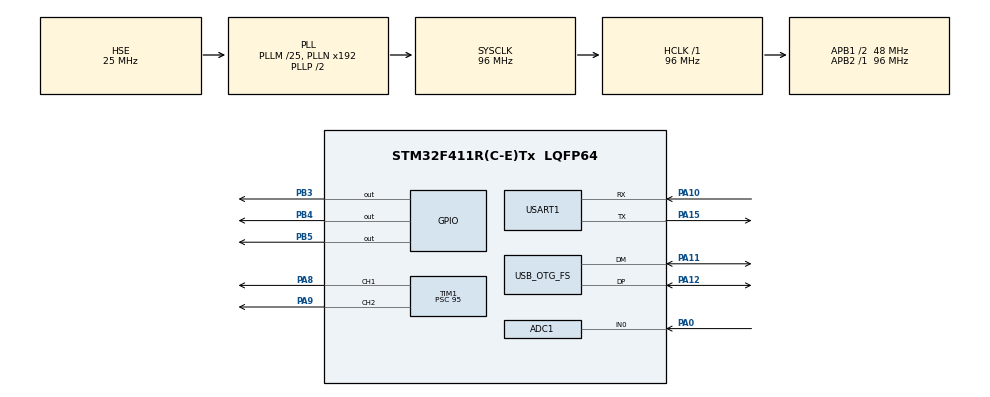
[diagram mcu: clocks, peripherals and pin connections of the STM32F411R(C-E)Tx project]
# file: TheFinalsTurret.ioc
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ADC1.Channel-1\#ChannelRegularConversion=ADC_CHANNEL_0
ADC1.NbrOfConversionFlag=1
ADC1.Rank-1\#ChannelRegularConversion=1
ADC1.SamplingTime-1\#ChannelRegularConversion=ADC_SAMPLETIME_3CYCLES
ADC1.master=1
FREERTOS.Tasks01=defaultTask,24,128,StartDefaultTask,Default,NULL,Dynamic,NULL,NULL
Mcu.Family=STM32F4
Mcu.Name=STM32F411R(C-E)Tx
Mcu.Package=LQFP64
NVIC.PriorityGroup=NVIC_PRIORITYGROUP_4
NVIC.TIM2_IRQn=true\:15\:0\:false\:false\:true\:false\:false\:true\:true
NVIC.TimeBase=TIM2_IRQn
NVIC.TimeBaseIP=TIM2
PA0-WKUP.Signal=ADCx_IN0
PA10.Mode=Asynchronous
PA10.Signal=USART1_RX
PA11.Mode=Device_Only
PA11.Signal=USB_OTG_FS_DM
PA12.Mode=Device_Only
PA12.Signal=USB_OTG_FS_DP
PA13.Mode=Serial_Wire
PA13.Signal=SYS_JTMS-SWDIO
PA14.Mode=Serial_Wire
PA14.Signal=SYS_JTCK-SWCLK
PA15.Mode=Asynchronous
PA15.Signal=USART1_TX
PA8.Signal=S_TIM1_CH1
PA9.Signal=S_TIM1_CH2
PB3.Signal=GPIO_Output
PB4.Signal=GPIO_Output
PB5.Signal=GPIO_Output
PH0\ -\ OSC_IN.Mode=HSE-External-Oscillator
PH0\ -\ OSC_IN.Signal=RCC_OSC_IN
PH1\ -\ OSC_OUT.Mode=HSE-External-Oscillator
PH1\ -\ OSC_OUT.Signal=RCC_OSC_OUT
ProjectManager.HeapSize=0x200
ProjectManager.StackSize=0x400
ProjectManager.TargetToolchain=STM32CubeIDE
RCC.48MHZClocksFreq_Value=48000000
RCC.AHBFreq_Value=96000000
RCC.APB1CLKDivider=RCC_HCLK_DIV2
RCC.APB1Freq_Value=48000000
RCC.APB1TimFreq_Value=96000000
RCC.APB2Freq_Value=96000000
RCC.APB2TimFreq_Value=96000000
RCC.CortexFreq_Value=96000000
RCC.HCLKFreq_Value=96000000
RCC.HSE_VALUE=25000000
RCC.HSI_VALUE=16000000
RCC.LSE_VALUE=32768
RCC.PLLM=25
RCC.SYSCLKFreq_VALUE=96000000
RCC.SYSCLKSource=RCC_SYSCLKSOURCE_PLLCLK
RCC.VCOOutputFreq_Value=192000000
SH.ADCx_IN0.0=ADC1_IN0,IN0
SH.S_TIM1_CH1.0=TIM1_CH1,PWM Generation1 CH1
SH.S_TIM1_CH2.0=TIM1_CH2,PWM Generation2 CH2
TIM1.Channel-PWM\ Generation1\ CH1=TIM_CHANNEL_1
TIM1.Channel-PWM\ Generation2\ CH2=TIM_CHANNEL_2
TIM1.Period=19999
TIM1.Prescaler=95
USART1.VirtualMode=VM_ASYNC
USB_OTG_FS.VirtualMode=Device_Only
VP_FREERTOS_VS_CMSIS_V2.Mode=CMSIS_V2
VP_SYS_VS_tim2.Mode=TIM2
VP_TIM1_VS_ClockSourceINT.Mode=Internal
board=custom

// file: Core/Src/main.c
/* USER CODE BEGIN Header */
/**
  ******************************************************************************
  * @file           : main.c
  * @brief          : Main program body
  ******************************************************************************
  * @attention
  *
  * Copyright (c) 2025 STMicroelectronics.
  * All rights reserved.
  *
  * This software is licensed under terms that can be found in the LICENSE file
  * in the root directory of this software component.
  * If no LICENSE file comes with this software, it is provided AS-IS.
  *
  ******************************************************************************
  */
/* USER CODE END Header */
#include "main.h"
#include "cmsis_os.h"

ADC_HandleTypeDef hadc1;

TIM_HandleTypeDef htim1;

UART_HandleTypeDef huart1;

PCD_HandleTypeDef hpcd_USB_OTG_FS;

/* Definitions for defaultTask */
osThreadId_t defaultTaskHandle;
const osThreadAttr_t defaultTask_attributes = {
  .name = "defaultTask",
  .stack_size = 128 * 4,
  .priority = (osPriority_t) osPriorityNormal,
};

void SystemClock_Config(void);
static void MX_GPIO_Init(void);
static void MX_TIM1_Init(void);
static void MX_USART1_UART_Init(void);
static void MX_USB_OTG_FS_PCD_Init(void);
static void MX_ADC1_Init(void);
void StartDefaultTask(void *argument);

int main(void)
{

  /* MCU Configuration--------------------------------------------------------*/

  /* Reset of all peripherals, Initializes the Flash interface and the Systick. */
  HAL_Init();

  /* Configure the system clock */
  SystemClock_Config();

  /* Initialize all configured peripherals */
  MX_GPIO_Init();
  MX_TIM1_Init();
  MX_USART1_UART_Init();
  MX_USB_OTG_FS_PCD_Init();
  MX_ADC1_Init();
  /* USER CODE BEGIN 2 */
  HAL_TIM_PWM_Start(&htim1, TIM_CHANNEL_1);
  /* USER CODE END 2 */

  /* Init scheduler */
  osKernelInitialize();

  /* Create the thread(s) */
  /* creation of defaultTask */
  defaultTaskHandle = osThreadNew(StartDefaultTask, NULL, &defaultTask_attributes);

  /* Start scheduler */
  osKernelStart();

  /* We should never get here as control is now taken by the scheduler */

  /* Infinite loop */
  while (1)
  {

  }
}

void SystemClock_Config(void)
{
  RCC_OscInitTypeDef RCC_OscInitStruct = {0};
  RCC_ClkInitTypeDef RCC_ClkInitStruct = {0};

  /** Configure the main internal regulator output voltage
  */
  __HAL_RCC_PWR_CLK_ENABLE();
  __HAL_PWR_VOLTAGESCALING_CONFIG(PWR_REGULATOR_VOLTAGE_SCALE1);

  /** Initializes the RCC Oscillators according to the specified parameters
  * in the RCC_OscInitTypeDef structure.
  */
  RCC_OscInitStruct.OscillatorType = RCC_OSCILLATORTYPE_HSE;
  RCC_OscInitStruct.HSEState = RCC_HSE_ON;
  RCC_OscInitStruct.PLL.PLLState = RCC_PLL_ON;
  RCC_OscInitStruct.PLL.PLLSource = RCC_PLLSOURCE_HSE;
  RCC_OscInitStruct.PLL.PLLM = 25;
  RCC_OscInitStruct.PLL.PLLN = 192;
  RCC_OscInitStruct.PLL.PLLP = RCC_PLLP_DIV2;
  RCC_OscInitStruct.PLL.PLLQ = 4;
  if (HAL_RCC_OscConfig(&RCC_OscInitStruct) != HAL_OK)
  {
    Error_Handler();
  }

  /** Initializes the CPU, AHB and APB buses clocks
  */
  RCC_ClkInitStruct.ClockType = RCC_CLOCKTYPE_HCLK|RCC_CLOCKTYPE_SYSCLK
                              |RCC_CLOCKTYPE_PCLK1|RCC_CLOCKTYPE_PCLK2;
  RCC_ClkInitStruct.SYSCLKSource = RCC_SYSCLKSOURCE_PLLCLK;
  RCC_ClkInitStruct.AHBCLKDivider = RCC_SYSCLK_DIV1;
  RCC_ClkInitStruct.APB1CLKDivider = RCC_HCLK_DIV2;
  RCC_ClkInitStruct.APB2CLKDivider = RCC_HCLK_DIV1;

  if (HAL_RCC_ClockConfig(&RCC_ClkInitStruct, FLASH_LATENCY_3) != HAL_OK)
  {
    Error_Handler();
  }
}

static void MX_ADC1_Init(void)
{

  ADC_ChannelConfTypeDef sConfig = {0};

  /** Configure the global features of the ADC (Clock, Resolution, Data Alignment and number of conversion)
  */
  hadc1.Instance = ADC1;
  hadc1.Init.ClockPrescaler = ADC_CLOCK_SYNC_PCLK_DIV4;
  hadc1.Init.Resolution = ADC_RESOLUTION_12B;
  hadc1.Init.ScanConvMode = DISABLE;
  hadc1.Init.ContinuousConvMode = DISABLE;
  hadc1.Init.DiscontinuousConvMode = DISABLE;
  hadc1.Init.ExternalTrigConvEdge = ADC_EXTERNALTRIGCONVEDGE_NONE;
  hadc1.Init.ExternalTrigConv = ADC_SOFTWARE_START;
  hadc1.Init.DataAlign = ADC_DATAALIGN_RIGHT;
  hadc1.Init.NbrOfConversion = 1;
  hadc1.Init.DMAContinuousRequests = DISABLE;
  hadc1.Init.EOCSelection = ADC_EOC_SINGLE_CONV;
  if (HAL_ADC_Init(&hadc1) != HAL_OK)
  {
    Error_Handler();
  }

  /** Configure for the selected ADC regular channel its corresponding rank in the sequencer and its sample time.
  */
  sConfig.Channel = ADC_CHANNEL_0;
  sConfig.Rank = 1;
  sConfig.SamplingTime = ADC_SAMPLETIME_3CYCLES;
  if (HAL_ADC_ConfigChannel(&hadc1, &sConfig) != HAL_OK)
  {
    Error_Handler();
  }

}

static void MX_TIM1_Init(void)
{

  TIM_ClockConfigTypeDef sClockSourceConfig = {0};
  TIM_MasterConfigTypeDef sMasterConfig = {0};
  TIM_OC_InitTypeDef sConfigOC = {0};
  TIM_BreakDeadTimeConfigTypeDef sBreakDeadTimeConfig = {0};

  htim1.Instance = TIM1;
  htim1.Init.Prescaler = 95;
  htim1.Init.CounterMode = TIM_COUNTERMODE_UP;
  htim1.Init.Period = 19999;
  htim1.Init.ClockDivision = TIM_CLOCKDIVISION_DIV1;
  htim1.Init.RepetitionCounter = 0;
  htim1.Init.AutoReloadPreload = TIM_AUTORELOAD_PRELOAD_DISABLE;
  if (HAL_TIM_Base_Init(&htim1) != HAL_OK)
  {
    Error_Handler();
  }
  sClockSourceConfig.ClockSource = TIM_CLOCKSOURCE_INTERNAL;
  if (HAL_TIM_ConfigClockSource(&htim1, &sClockSourceConfig) != HAL_OK)
  {
    Error_Handler();
  }
  if (HAL_TIM_PWM_Init(&htim1) != HAL_OK)
  {
    Error_Handler();
  }
  sMasterConfig.MasterOutputTrigger = TIM_TRGO_RESET;
  sMasterConfig.MasterSlaveMode = TIM_MASTERSLAVEMODE_DISABLE;
  if (HAL_TIMEx_MasterConfigSynchronization(&htim1, &sMasterConfig) != HAL_OK)
  {
    Error_Handler();
  }
  sConfigOC.OCMode = TIM_OCMODE_PWM1;
  sConfigOC.Pulse = 0;
  sConfigOC.OCPolarity = TIM_OCPOLARITY_HIGH;
  sConfigOC.OCNPolarity = TIM_OCNPOLARITY_HIGH;
  sConfigOC.OCFastMode = TIM_OCFAST_DISABLE;
  sConfigOC.OCIdleState = TIM_OCIDLESTATE_RESET;
  sConfigOC.OCNIdleState = TIM_OCNIDLESTATE_RESET;
  if (HAL_TIM_PWM_ConfigChannel(&htim1, &sConfigOC, TIM_CHANNEL_1) != HAL_OK)
  {
    Error_Handler();
  }
  if (HAL_TIM_PWM_ConfigChannel(&htim1, &sConfigOC, TIM_CHANNEL_2) != HAL_OK)
  {
    Error_Handler();
  }
  sBreakDeadTimeConfig.OffStateRunMode = TIM_OSSR_DISABLE;
  sBreakDeadTimeConfig.OffStateIDLEMode = TIM_OSSI_DISABLE;
  sBreakDeadTimeConfig.LockLevel = TIM_LOCKLEVEL_OFF;
  sBreakDeadTimeConfig.DeadTime = 0;
  sBreakDeadTimeConfig.BreakState = TIM_BREAK_DISABLE;
  sBreakDeadTimeConfig.BreakPolarity = TIM_BREAKPOLARITY_HIGH;
  sBreakDeadTimeConfig.AutomaticOutput = TIM_AUTOMATICOUTPUT_DISABLE;
  if (HAL_TIMEx_ConfigBreakDeadTime(&htim1, &sBreakDeadTimeConfig) != HAL_OK)
  {
    Error_Handler();
  }
  HAL_TIM_MspPostInit(&htim1);

}

static void MX_USART1_UART_Init(void)
{

  huart1.Instance = USART1;
  huart1.Init.BaudRate = 115200;
  huart1.Init.WordLength = UART_WORDLENGTH_8B;
  huart1.Init.StopBits = UART_STOPBITS_1;
  huart1.Init.Parity = UART_PARITY_NONE;
  huart1.Init.Mode = UART_MODE_TX_RX;
  huart1.Init.HwFlowCtl = UART_HWCONTROL_NONE;
  huart1.Init.OverSampling = UART_OVERSAMPLING_16;
  if (HAL_UART_Init(&huart1) != HAL_OK)
  {
    Error_Handler();
  }

}

static void MX_USB_OTG_FS_PCD_Init(void)
{

  hpcd_USB_OTG_FS.Instance = USB_OTG_FS;
  hpcd_USB_OTG_FS.Init.dev_endpoints = 4;
  hpcd_USB_OTG_FS.Init.speed = PCD_SPEED_FULL;
  hpcd_USB_OTG_FS.Init.dma_enable = DISABLE;
  hpcd_USB_OTG_FS.Init.phy_itface = PCD_PHY_EMBEDDED;
  hpcd_USB_OTG_FS.Init.Sof_enable = DISABLE;
  hpcd_USB_OTG_FS.Init.low_power_enable = DISABLE;
  hpcd_USB_OTG_FS.Init.lpm_enable = DISABLE;
  hpcd_USB_OTG_FS.Init.vbus_sensing_enable = DISABLE;
  hpcd_USB_OTG_FS.Init.use_dedicated_ep1 = DISABLE;
  if (HAL_PCD_Init(&hpcd_USB_OTG_FS) != HAL_OK)
  {
    Error_Handler();
  }

}

static void MX_GPIO_Init(void)
{
  GPIO_InitTypeDef GPIO_InitStruct = {0};

  /* GPIO Ports Clock Enable */
  __HAL_RCC_GPIOH_CLK_ENABLE();
  __HAL_RCC_GPIOA_CLK_ENABLE();
  __HAL_RCC_GPIOB_CLK_ENABLE();

  /*Configure GPIO pin Output Level */
  HAL_GPIO_WritePin(GPIOB, GPIO_PIN_3|GPIO_PIN_4|GPIO_PIN_5, GPIO_PIN_RESET);

  /*Configure GPIO pins : PB3 PB4 PB5 */
  GPIO_InitStruct.Pin = GPIO_PIN_3|GPIO_PIN_4|GPIO_PIN_5;
  GPIO_InitStruct.Mode = GPIO_MODE_OUTPUT_PP;
  GPIO_InitStruct.Pull = GPIO_NOPULL;
  GPIO_InitStruct.Speed = GPIO_SPEED_FREQ_LOW;
  HAL_GPIO_Init(GPIOB, &GPIO_InitStruct);

}

/* USER CODE BEGIN 4 */
static uint32_t AngleToCCR(uint16_t angle)
{
    const uint32_t MIN_PULSE_US = 500;   // 1 ms
    const uint32_t MAX_PULSE_US = 2500;   // 2 ms

    if (angle > 180U) angle = 180U;        // clamp

    return MIN_PULSE_US +
           ((MAX_PULSE_US - MIN_PULSE_US) * angle) / 180U;
}

void Pan_Servo_SetAngle(uint16_t angle)
{
    __HAL_TIM_SET_COMPARE(&htim1, TIM_CHANNEL_1, AngleToCCR(angle));
}

static uint16_t ADC_Value_To_Angle(uint32_t adc_val)
{
    /* Clamp just in case */
    if (adc_val > 4095U) adc_val = 4095U;

    /* Linear mapping: 0 → 0°, 4095 → 180° */
    return (uint16_t)((adc_val * 180U) / 4095U);
}
/* USER CODE END 4 */

void StartDefaultTask(void *argument)
{
  /* USER CODE BEGIN 5 */
  /* Infinite loop */
	while (1)
	{
		uint32_t adc_raw = 0;

		/* ---- 1. Trigger a single conversion -------------------------------- */
		HAL_ADC_Start(&hadc1);                     // start conversion
		if (HAL_ADC_PollForConversion(&hadc1, 10) == HAL_OK)   // timeout = 10 ms
		{
			adc_raw = HAL_ADC_GetValue(&hadc1);    // 0 … 4095
		}
		HAL_ADC_Stop(&hadc1);                      // stop (optional, saves power)

		/* ---- 2. Convert ADC → angle --------------------------------------- */
		uint16_t angle = ADC_Value_To_Angle(adc_raw);

		/* ---- 3. Convert angle → CCR and write it --------------------------- */
		uint32_t ccr = AngleToCCR(angle);
		__HAL_TIM_SET_COMPARE(&htim1, TIM_CHANNEL_1, ccr);

		/* ---- 4. Small delay – you can tune this to taste ----------------- */
		osDelay(20);      // 20 ms ≈ one PWM period; feel free to increase
	}
  /* USER CODE END 5 */
}

void HAL_TIM_PeriodElapsedCallback(TIM_HandleTypeDef *htim)
{
  if (htim->Instance == TIM2)
  {
    HAL_IncTick();
  }
}

void Error_Handler(void)
{
  __disable_irq();
  while (1)
  {
  }
}
